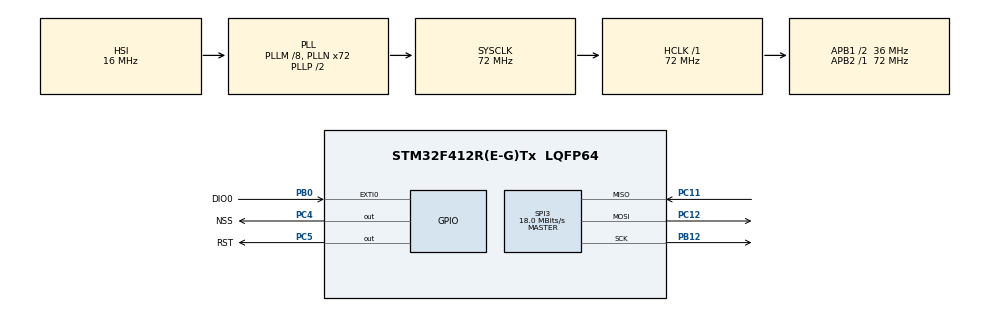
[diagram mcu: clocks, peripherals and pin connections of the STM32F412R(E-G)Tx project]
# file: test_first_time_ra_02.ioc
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Mcu.Family=STM32F4
Mcu.Name=STM32F412R(E-G)Tx
Mcu.Package=LQFP64
NVIC.PriorityGroup=NVIC_PRIORITYGROUP_4
PA13.Mode=Serial_Wire
PA13.Signal=SYS_JTMS-SWDIO
PA14.Mode=Serial_Wire
PA14.Signal=SYS_JTCK-SWCLK
PB0.GPIO_Label=DIO0
PB0.Signal=GPXTI0
PB12.Mode=Full_Duplex_Master
PB12.Signal=SPI3_SCK
PC11.Mode=Full_Duplex_Master
PC11.Signal=SPI3_MISO
PC12.Mode=Full_Duplex_Master
PC12.Signal=SPI3_MOSI
PC4.GPIO_Label=NSS
PC4.Signal=GPIO_Output
PC5.GPIO_Label=RST
PC5.Signal=GPIO_Output
ProjectManager.HeapSize=0x200
ProjectManager.StackSize=0x400
ProjectManager.TargetToolchain=STM32CubeIDE
RCC.AHBFreq_Value=72000000
RCC.APB1CLKDivider=RCC_HCLK_DIV2
RCC.APB1Freq_Value=36000000
RCC.APB1TimFreq_Value=72000000
RCC.APB2Freq_Value=72000000
RCC.APB2TimFreq_Value=72000000
RCC.CortexFreq_Value=72000000
RCC.HCLKFreq_Value=72000000
RCC.PLLM=8
RCC.PLLN=72
RCC.SYSCLKFreq_VALUE=72000000
RCC.SYSCLKSource=RCC_SYSCLKSOURCE_PLLCLK
RCC.USBFreq_Value=72000000
RCC.VCOOutputFreq_Value=144000000
SPI3.CalculateBaudRate=18.0 MBits/s
SPI3.Direction=SPI_DIRECTION_2LINES
SPI3.Mode=SPI_MODE_MASTER
SPI3.VirtualType=VM_MASTER
board=custom

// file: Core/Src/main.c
/* USER CODE BEGIN Header */
/**
  ******************************************************************************
  * @file           : main.c
  * @brief          : Main program body
  ******************************************************************************
  * @attention
  *
  * Copyright (c) 2025 STMicroelectronics.
  * All rights reserved.
  *
  * This software is licensed under terms that can be found in the LICENSE file
  * in the root directory of this software component.
  * If no LICENSE file comes with this software, it is provided AS-IS.
  *
  ******************************************************************************
  */
/* USER CODE END Header */
#include "main.h"

/* USER CODE BEGIN Includes */
#include "LoRa.h"
#include "string.h"
#include "stdio.h"
#include "stdint.h"
char*  send_data;

/* USER CODE END Includes */

SPI_HandleTypeDef hspi3;

/* USER CODE BEGIN PV */
LoRa myLoRa;
uint8_t LoRa_stat=0;
uint8_t RxBuffer[12];
/* USER CODE END PV */

void SystemClock_Config(void);
static void MX_GPIO_Init(void);
static void MX_SPI3_Init(void);

int main(void)
{

  /* MCU Configuration--------------------------------------------------------*/

  /* Reset of all peripherals, Initializes the Flash interface and the Systick. */
  HAL_Init();

  /* Configure the system clock */
  SystemClock_Config();

  /* Initialize all configured peripherals */
  MX_GPIO_Init();
  MX_SPI3_Init();
  /* USER CODE BEGIN 2 */
  myLoRa = newLoRa();

  myLoRa.CS_port         = NSS_GPIO_Port;
  myLoRa.CS_pin          = NSS_Pin;
  myLoRa.reset_port      = RST_GPIO_Port;
  myLoRa.reset_pin       = RST_Pin;
  myLoRa.DIO0_port       = DIO0_GPIO_Port;
  myLoRa.DIO0_pin        = DIO0_Pin;
  myLoRa.hSPIx           = &hspi3;

  myLoRa.frequency             = 433;             // default = 433 MHz
  myLoRa.spredingFactor        = SF_7;            // default = SF_7
  myLoRa.bandWidth             = BW_31_25KHz;       // default = BW_125KHz
  myLoRa.crcRate               = CR_4_5;          // default = CR_4_5
  myLoRa.power                 = POWER_20db;      // default = 20db
  myLoRa.overCurrentProtection = 130;             // default = 100 mA
  myLoRa.preamble              = 9;              // default = 8;

  if(LoRa_init(&myLoRa)==LORA_OK){

	  LoRa_stat = 1;

  }

  LoRa_startReceiving(&myLoRa);

  uint8_t TxBuffer[128];
  TxBuffer[0] = 45;
  TxBuffer[1] = 0x12;
  TxBuffer[2] = 'G';

  LoRa_transmit(&myLoRa,TxBuffer,3,500);

  /* USER CODE END 2 */

  /* Infinite loop */
  while (1)
  {

    /* USER CODE BEGIN 3 */
	  send_data = "Hello world!";
	  LoRa_transmit(&myLoRa, (uint8_t*)send_data, 12, 100);
  }
  /* USER CODE END 3 */
}

void SystemClock_Config(void)
{
  RCC_OscInitTypeDef RCC_OscInitStruct = {0};
  RCC_ClkInitTypeDef RCC_ClkInitStruct = {0};

  /** Configure the main internal regulator output voltage
  */
  __HAL_RCC_PWR_CLK_ENABLE();
  __HAL_PWR_VOLTAGESCALING_CONFIG(PWR_REGULATOR_VOLTAGE_SCALE1);

  /** Initializes the RCC Oscillators according to the specified parameters
  * in the RCC_OscInitTypeDef structure.
  */
  RCC_OscInitStruct.OscillatorType = RCC_OSCILLATORTYPE_HSI;
  RCC_OscInitStruct.HSIState = RCC_HSI_ON;
  RCC_OscInitStruct.HSICalibrationValue = RCC_HSICALIBRATION_DEFAULT;
  RCC_OscInitStruct.PLL.PLLState = RCC_PLL_ON;
  RCC_OscInitStruct.PLL.PLLSource = RCC_PLLSOURCE_HSI;
  RCC_OscInitStruct.PLL.PLLM = 8;
  RCC_OscInitStruct.PLL.PLLN = 72;
  RCC_OscInitStruct.PLL.PLLP = RCC_PLLP_DIV2;
  RCC_OscInitStruct.PLL.PLLQ = 2;
  RCC_OscInitStruct.PLL.PLLR = 2;
  if (HAL_RCC_OscConfig(&RCC_OscInitStruct) != HAL_OK)
  {
    Error_Handler();
  }

  /** Initializes the CPU, AHB and APB buses clocks
  */
  RCC_ClkInitStruct.ClockType = RCC_CLOCKTYPE_HCLK|RCC_CLOCKTYPE_SYSCLK
                              |RCC_CLOCKTYPE_PCLK1|RCC_CLOCKTYPE_PCLK2;
  RCC_ClkInitStruct.SYSCLKSource = RCC_SYSCLKSOURCE_PLLCLK;
  RCC_ClkInitStruct.AHBCLKDivider = RCC_SYSCLK_DIV1;
  RCC_ClkInitStruct.APB1CLKDivider = RCC_HCLK_DIV2;
  RCC_ClkInitStruct.APB2CLKDivider = RCC_HCLK_DIV1;

  if (HAL_RCC_ClockConfig(&RCC_ClkInitStruct, FLASH_LATENCY_2) != HAL_OK)
  {
    Error_Handler();
  }
}

static void MX_SPI3_Init(void)
{

  /* SPI3 parameter configuration*/
  hspi3.Instance = SPI3;
  hspi3.Init.Mode = SPI_MODE_MASTER;
  hspi3.Init.Direction = SPI_DIRECTION_2LINES;
  hspi3.Init.DataSize = SPI_DATASIZE_8BIT;
  hspi3.Init.CLKPolarity = SPI_POLARITY_LOW;
  hspi3.Init.CLKPhase = SPI_PHASE_1EDGE;
  hspi3.Init.NSS = SPI_NSS_SOFT;
  hspi3.Init.BaudRatePrescaler = SPI_BAUDRATEPRESCALER_2;
  hspi3.Init.FirstBit = SPI_FIRSTBIT_MSB;
  hspi3.Init.TIMode = SPI_TIMODE_DISABLE;
  hspi3.Init.CRCCalculation = SPI_CRCCALCULATION_DISABLE;
  hspi3.Init.CRCPolynomial = 10;
  if (HAL_SPI_Init(&hspi3) != HAL_OK)
  {
    Error_Handler();
  }

}

static void MX_GPIO_Init(void)
{
  GPIO_InitTypeDef GPIO_InitStruct = {0};

  /* GPIO Ports Clock Enable */
  __HAL_RCC_GPIOC_CLK_ENABLE();
  __HAL_RCC_GPIOB_CLK_ENABLE();
  __HAL_RCC_GPIOA_CLK_ENABLE();

  /*Configure GPIO pin Output Level */
  HAL_GPIO_WritePin(GPIOC, NSS_Pin|RST_Pin, GPIO_PIN_RESET);

  /*Configure GPIO pins : NSS_Pin RST_Pin */
  GPIO_InitStruct.Pin = NSS_Pin|RST_Pin;
  GPIO_InitStruct.Mode = GPIO_MODE_OUTPUT_PP;
  GPIO_InitStruct.Pull = GPIO_NOPULL;
  GPIO_InitStruct.Speed = GPIO_SPEED_FREQ_LOW;
  HAL_GPIO_Init(GPIOC, &GPIO_InitStruct);

  /*Configure GPIO pin : DIO0_Pin */
  GPIO_InitStruct.Pin = DIO0_Pin;
  GPIO_InitStruct.Mode = GPIO_MODE_IT_RISING;
  GPIO_InitStruct.Pull = GPIO_NOPULL;
  HAL_GPIO_Init(DIO0_GPIO_Port, &GPIO_InitStruct);

}

/* USER CODE BEGIN 4 */
void HAL_GPIO_EXTI_Callback(uint16_t GPIO_Pin)
{
  if(GPIO_Pin==DIO0_Pin){

	  LoRa_receive(&myLoRa,RxBuffer,128);

  }
}
/* USER CODE END 4 */

void Error_Handler(void)
{
  __disable_irq();
  while (1)
  {
  }
}
